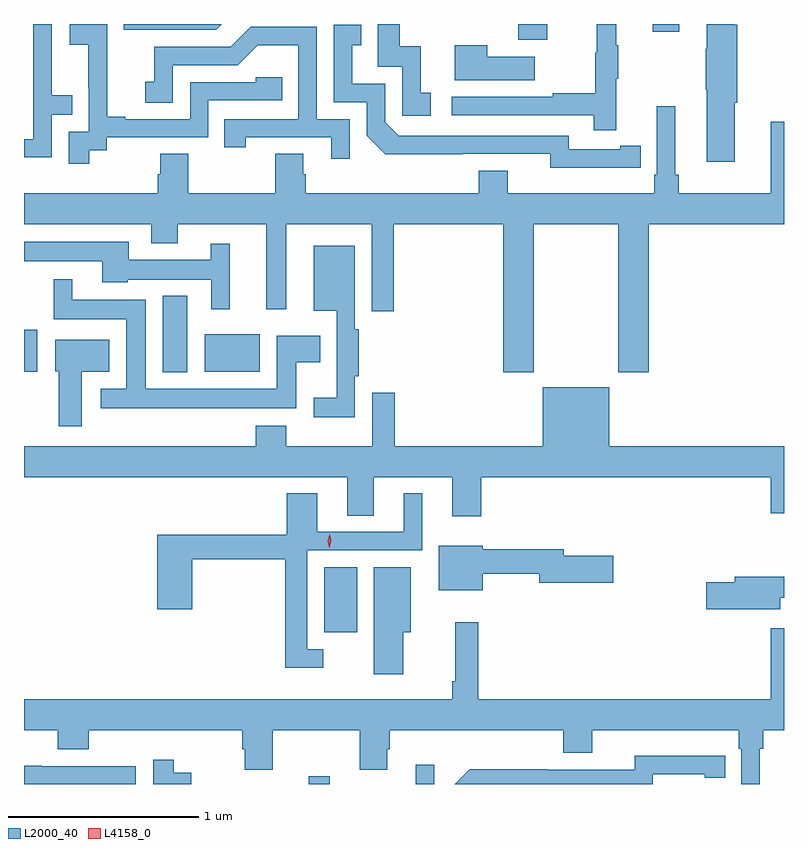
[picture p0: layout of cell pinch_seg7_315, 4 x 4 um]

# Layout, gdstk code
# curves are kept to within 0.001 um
import gdstk
lib = gdstk.Library(unit=1e-6, precision=1e-09)
def R(c, l, rs):  # rectangles x0, y0, x1, y1
    for r in rs: c.add(gdstk.rectangle(r[:2], r[2:], *l))
def P(c, l, *ps):  # polygons
    for p in ps: c.add(gdstk.Polygon(p, *l))
L2000_40 = (2000, 40)
L4158_0 = (4158, 0)

pinch_seg7_315 = lib.new_cell('pinch_seg7_315')
R(pinch_seg7_315, L2000_40, [(402.337,1057.61,402.448,1057.651), (402.899,1057.61,402.996,1057.711), (402.419,1058.408,402.592,1058.752), (401.567,1059.776,401.698,1060.18), (400.838,1059.779,400.909,1060), (401.789,1059.779,402.079,1059.976), (403.439,1061.526,403.591,1061.61), (404.147,1061.568,404.287,1061.61)])
P(pinch_seg7_315, L2000_40, [(403.955,1061.323),(403.966,1061.323),(403.966,1061.497),(403.955,1061.497),(403.955,1061.61),(403.852,1061.61),(403.852,1061.46),(403.845,1061.46),(403.845,1061.246),(403.621,1061.246),(403.621,1061.226),(403.089,1061.226),(403.089,1061.13),(403.837,1061.13),(403.837,1061.052),(403.955,1061.052)],
  [(402.979,1061.247),(402.926,1061.247),(402.926,1061.494),(402.815,1061.494),(402.815,1061.61),(402.699,1061.61),(402.699,1061.385),(402.828,1061.385),(402.828,1061.127),(402.979,1061.127)],
  [(401.88,1061.61),(401.364,1061.61),(401.364,1061.58),(401.85,1061.58)],
  [(400.983,1061.133),(401.093,1061.133),(401.093,1061.234),(400.983,1061.234),(400.983,1061.61),(400.887,1061.61),(400.887,1061.004),(400.838,1061.004),(400.838,1060.908),(400.983,1060.908)],
  [(404.578,1061.196),(404.591,1061.196),(404.591,1061.606),(404.578,1061.606),(404.578,1061.61),(404.432,1061.61),(404.432,1061.48),(404.425,1061.48),(404.425,1061.263),(404.432,1061.263),(404.432,1060.884),(404.578,1060.884)],
  [(401.182,1060.945),(401.274,1060.945),(401.274,1061.013),(401.808,1061.013),(401.808,1061.208),(402.197,1061.208),(402.197,1061.331),(402.057,1061.331),(402.057,1061.304),(401.712,1061.304),(401.712,1061.109),(401.371,1061.109),(401.371,1061.122),(401.276,1061.122),(401.276,1061.405),(401.277,1061.405),(401.277,1061.61),(401.079,1061.61),(401.079,1061.501),(401.177,1061.501),(401.177,1061.273),(401.178,1061.273),(401.178,1061.043),(401.073,1061.043),(401.073,1060.875),(401.182,1060.875)],
  [(403.976,1060.854),(404.084,1060.854),(404.084,1060.97),(403.976,1060.97),(403.976,1060.95),(403.704,1060.95),(403.704,1061.022),(402.81,1061.022),(402.738,1061.094),(402.738,1061.295),(402.565,1061.295),(402.565,1061.499),(402.614,1061.499),(402.614,1061.605),(402.468,1061.605),(402.468,1061.199),(402.642,1061.199),(402.642,1061.022),(402.74,1060.925),(403.608,1060.926),(403.608,1060.853)],
  [(402.552,1061.109),(402.378,1061.109),(402.378,1061.595),(402.032,1061.595),(401.927,1061.49),(401.524,1061.49),(401.524,1061.305),(401.475,1061.305),(401.475,1061.196),(401.622,1061.196),(401.622,1061.394),(401.964,1061.394),(402.068,1061.498),(402.282,1061.498),(402.282,1061.109),(401.893,1061.109),(401.893,1060.962),(402.004,1060.962),(402.004,1061.013),(402.455,1061.013),(402.455,1060.902),(402.552,1060.902)],
  [(403.525,1061.437),(403.277,1061.437),(403.277,1061.497),(403.106,1061.497),(403.106,1061.315),(403.525,1061.315)],
  [(403.521,1060.556),(403.966,1060.556),(403.966,1059.777),(404.126,1059.777),(404.126,1060.556),(404.838,1060.556),(404.838,1061.095),(404.768,1061.095),(404.768,1060.72),(404.285,1060.72),(404.285,1060.816),(404.266,1060.816),(404.266,1061.176),(404.169,1061.176),(404.169,1060.816),(404.156,1060.816),(404.156,1060.72),(403.384,1060.72),(403.384,1060.837),(403.232,1060.837),(403.232,1060.72),(402.32,1060.72),(402.32,1060.818),(402.307,1060.818),(402.307,1060.928),(402.16,1060.928),(402.16,1060.72),(401.703,1060.72),(401.703,1060.928),(401.555,1060.928),(401.555,1060.818),(401.543,1060.818),(401.543,1060.72),(400.838,1060.72),(400.838,1060.556),(401.507,1060.556),(401.507,1060.457),(401.647,1060.457),(401.647,1060.556),(402.113,1060.556),(402.113,1060.11),(402.217,1060.11),(402.217,1060.556),(402.669,1060.556),(402.669,1060.098),(402.785,1060.098),(402.785,1060.556),(403.361,1060.556),(403.361,1059.777),(403.521,1059.777)],
  [(401.921,1060.453),(401.822,1060.453),(401.822,1060.369),(401.389,1060.369),(401.389,1060.465),(400.838,1060.465),(400.838,1060.361),(401.249,1060.361),(401.249,1060.25),(401.385,1060.25),(401.385,1060.265),(401.823,1060.265),(401.823,1060.11),(401.921,1060.11)],
  [(402.579,1059.757),(402.599,1059.757),(402.599,1060.004),(402.58,1060.004),(402.58,1060.444),(402.362,1060.444),(402.362,1060.1),(402.483,1060.1),(402.483,1059.643),(402.363,1059.643),(402.363,1059.539),(402.579,1059.539)],
  [(402.271,1059.83),(402.398,1059.83),(402.398,1059.97),(402.167,1059.97),(402.167,1059.691),(401.479,1059.691),(401.479,1060.159),(401.092,1060.159),(401.092,1060.267),(400.994,1060.267),(400.994,1060.055),(401.375,1060.055),(401.375,1059.691),(401.241,1059.691),(401.241,1059.587),(402.271,1059.587)],
  [(401.143,1059.779),(401.287,1059.779),(401.287,1059.949),(401.003,1059.949),(401.003,1059.783),(401.021,1059.783),(401.021,1059.492),(401.143,1059.492)],
  [(403.244,1059.224),(404.768,1059.224),(404.768,1059.036),(404.838,1059.036),(404.838,1059.388),(403.918,1059.388),(403.918,1059.697),(403.568,1059.697),(403.568,1059.388),(402.788,1059.388),(402.788,1059.67),(402.672,1059.67),(402.672,1059.388),(402.219,1059.388),(402.219,1059.496),(402.059,1059.496),(402.059,1059.388),(400.838,1059.388),(400.838,1059.224),(402.539,1059.224),(402.539,1059.022),(402.679,1059.022),(402.679,1059.224),(403.091,1059.224),(403.091,1059.018),(403.244,1059.018)],
  [(402.412,1058.319),(402.33,1058.319),(402.33,1058.841),(402.934,1058.841),(402.934,1059.139),(402.836,1059.139),(402.836,1058.937),(402.382,1058.937),(402.382,1059.139),(402.221,1059.139),(402.221,1058.923),(401.54,1058.923),(401.54,1058.529),(401.723,1058.529),(401.723,1058.794),(402.214,1058.794),(402.214,1058.222),(402.412,1058.222)],
  [(403.252,1058.716),(403.55,1058.716),(403.55,1058.669),(403.939,1058.669),(403.939,1058.811),(403.678,1058.811),(403.678,1058.845),(403.252,1058.845),(403.252,1058.863),(403.022,1058.863),(403.022,1058.63),(403.252,1058.63)],
  [(402.835,1058.408),(402.874,1058.408),(402.874,1058.752),(402.68,1058.752),(402.68,1058.187),(402.835,1058.187)],
  [(404.818,1058.591),(404.838,1058.591),(404.838,1058.701),(404.579,1058.701),(404.579,1058.672),(404.43,1058.672),(404.43,1058.53),(404.818,1058.53)],
  [(404.71,1057.796),(404.729,1057.796),(404.729,1057.892),(404.838,1057.892),(404.838,1058.431),(404.768,1058.431),(404.768,1058.056),(403.229,1058.056),(403.229,1058.461),(403.108,1058.461),(403.108,1058.152),(403.093,1058.152),(403.093,1058.056),(400.838,1058.056),(400.838,1057.892),(401.015,1057.892),(401.015,1057.793),(401.18,1057.793),(401.18,1057.892),(401.987,1057.892),(401.987,1057.794),(401.999,1057.794),(401.999,1057.684),(402.147,1057.684),(402.147,1057.892),(402.604,1057.892),(402.604,1057.684),(402.751,1057.684),(402.751,1057.794),(402.764,1057.794),(402.764,1057.892),(403.676,1057.892),(403.676,1057.775),(403.828,1057.775),(403.828,1057.892),(404.6,1057.892),(404.6,1057.796),(404.613,1057.796),(404.613,1057.61),(404.71,1057.61)],
  [(404.148,1057.662),(404.42,1057.662),(404.42,1057.642),(404.528,1057.642),(404.528,1057.758),(404.052,1057.759),(404.052,1057.686),(403.592,1057.686),(403.592,1057.688),(403.184,1057.688),(403.106,1057.61),(404.148,1057.61)],
  [(401.718,1057.668),(401.626,1057.668),(401.626,1057.738),(401.517,1057.738),(401.517,1057.61),(401.718,1057.61)],
  [(401.427,1057.704),(400.931,1057.704),(400.931,1057.706),(400.838,1057.706),(400.838,1057.61),(401.427,1057.61)])
P(pinch_seg7_315, L4158_0, [(402.444,1058.853),(402.444,1058.853),(402.436,1058.89),(402.447,1058.925),(402.447,1058.925),(402.448,1058.925),(402.456,1058.889),(402.445,1058.853)])

lib.write_gds('pinch_seg7_315.gds')
